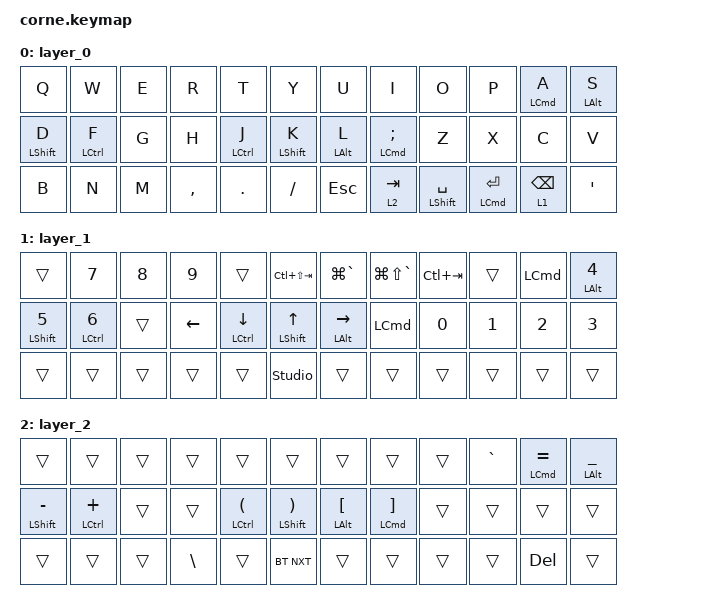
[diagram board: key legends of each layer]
#include <behaviors.dtsi>
#include <dt-bindings/zmk/bt.h>
#include <dt-bindings/zmk/keys.h>

#define BASE   0
#define SYM    1
#define NAVNUM 2

&mt {
    flavor = "balanced";
    quick-tap-ms = <200>;
    tapping-term-ms = <200>;
};

&lt {
    quick-tap-ms = <200>;
    tapping-term-ms = <200>;
    flavor = "balanced";
};

/ {
    keymap {
        compatible = "zmk,keymap";

        layer_0 {
            bindings = <
&kp Q        &kp W        &kp E  &kp R      &kp T        &kp Y          &kp U       &kp I               &kp O            &kp P           &mt LCMD A       &mt LALT S
&mt LSHFT D  &mt LCTRL F  &kp G  &kp H      &mt LCTRL J  &mt LSHFT K    &mt LALT L  &mt LCMD SEMICOLON  &kp Z            &kp X           &kp C            &kp V
&kp B        &kp N        &kp M  &kp COMMA  &kp PERIOD   &kp SLASH      &kp ESCAPE  &lt 2 TAB           &mt LSHFT SPACE  &mt LCMD ENTER  &lt 1 BACKSPACE  &kp SQT
            >;
        };

        layer_1 {
            bindings = <
&trans        &kp N7              &kp N8  &kp N9          &trans          &kp LC(LS(TAB))       &kp LG(GRAVE)   &kp LG(LS(GRAVE))  &kp LC(TAB)  &trans  &kp LCMD  &mt LALT NUMBER_4
&mt LSHFT N5  &mt LCTRL NUMBER_6  &trans  &kp LEFT_ARROW  &mt LCTRL DOWN  &mt LSHFT UP_ARROW    &mt LALT RIGHT  &kp LCMD           &kp N0       &kp N1  &kp N2    &kp N3
&trans        &trans              &trans  &trans          &trans          &studio_unlock                &trans          &trans             &trans       &trans  &trans    &trans
            >;
        };

        layer_2 {
            bindings = <
&trans           &trans          &trans  &trans         &trans                      &trans                         &trans                 &trans                  &trans  &kp GRAVE  &mt LCMD EQUAL  &mt LALT UNDERSCORE
&mt LSHFT MINUS  &mt LCTRL PLUS  &trans  &trans         &mt LCTRL LEFT_PARENTHESIS  &mt LSHFT RIGHT_PARENTHESIS    &mt LALT LEFT_BRACKET  &mt LCMD RIGHT_BRACKET  &trans  &trans     &trans          &trans
&trans           &trans          &trans  &kp BACKSLASH  &trans                      &bt BT_NXT                     &trans                 &trans                  &trans  &trans     &kp DELETE      &trans
            >;
        };

        layer_3 {
            status = "reserved";
        };

        layer_4 {
            status = "reserved";
        };
    };
};
